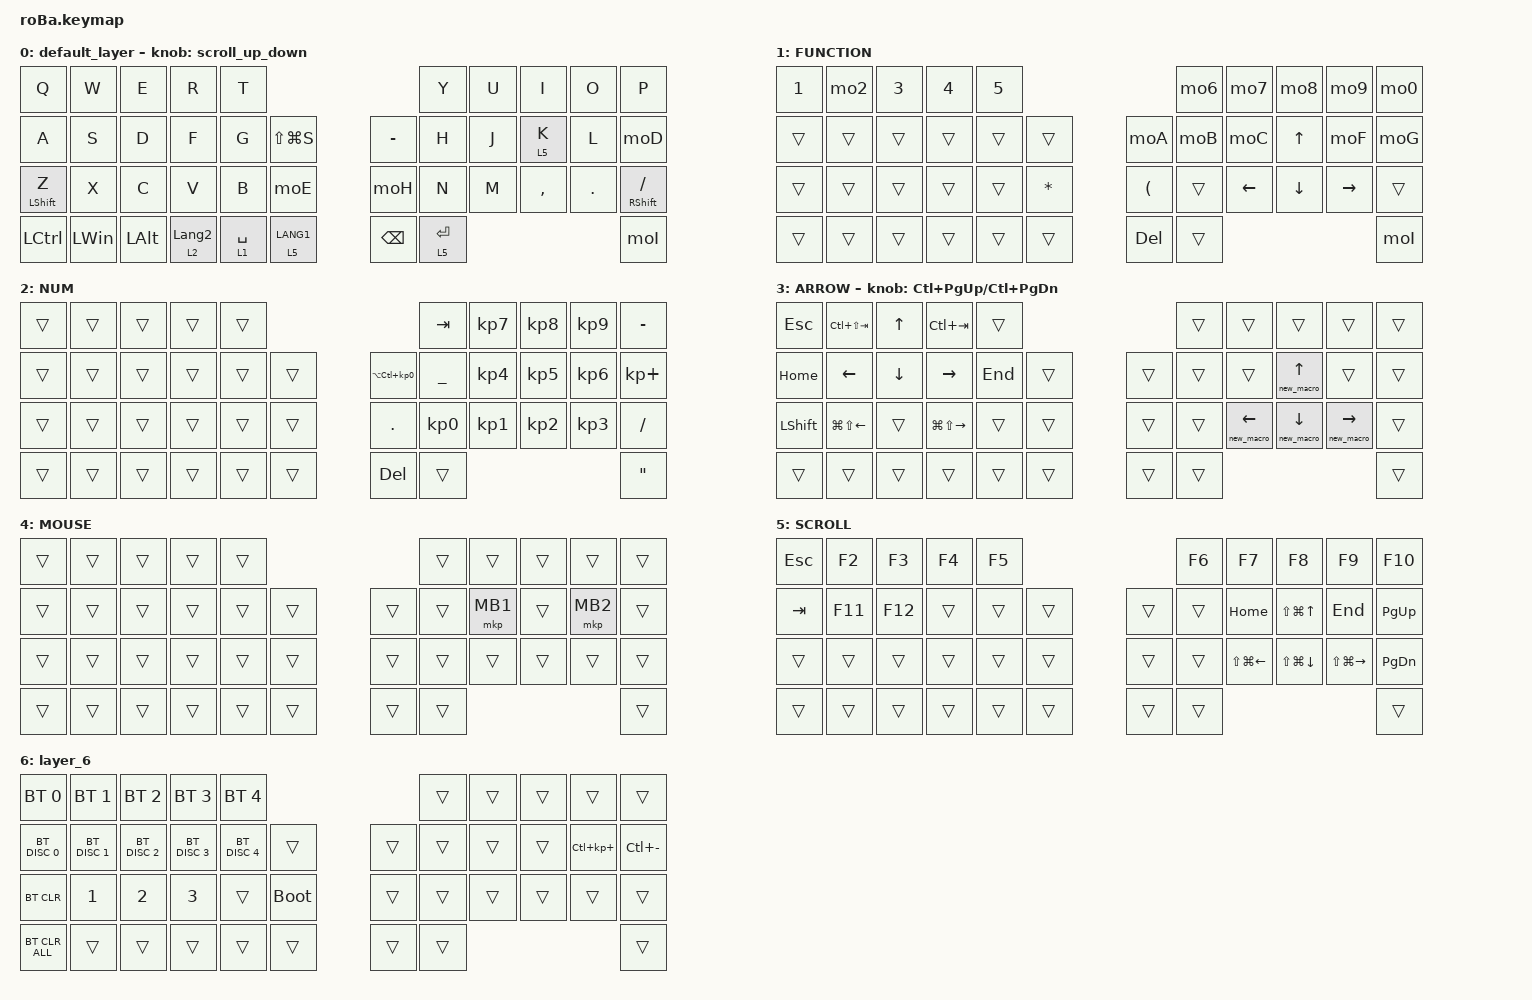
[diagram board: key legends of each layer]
#include <behaviors.dtsi>
#include <dt-bindings/zmk/bt.h>
#include <dt-bindings/zmk/keys.h>
#include <dt-bindings/zmk/pointing.h>

#define ZMK_POINTING_DEFAULT_SCRL_VAL 100
#define JP_DQUOTE       AT                // "
#define JP_AMPERSAND    CARET             // &
#define JP_QUOTE        AMPERSAND         // '
#define JP_EQUAL        UNDER             // =
#define JP_CARET        EQUAL             // ^
#define JP_YEN          0x89              // ¥
#define JP_PLUS         COLON             // +
#define JP_TILDE        PLUS              // ~
#define JP_PIPE         LS(0x89)          // |
#define JP_AT           LEFT_BRACKET      // @
#define JP_COLON        SINGLE_QUOTE      // :
#define JP_ASTERISK     DOUBLE_QUOTES     // *
#define JP_BACKQUOTE    LEFT_BRACE        // `
#define JP_UNDERSCORE   LS(0x87)          // _
#define JP_LBRACKET     RIGHT_BRACKET     // [
#define JP_RBRACKET     BACKSLASH         // ]
#define JP_LPAREN       ASTERISK          // (
#define JP_RPAREN       LEFT_PARENTHESIS  // )
#define JP_LBRACE       RIGHT_BRACE       // {
#define JP_RBRACE       PIPE              // }
#define JP_KANA         LANGUAGE_1        // かな
#define JP_EISU         LANGUAGE_2        // 英数
#define JP_HANZEN       GRAVE             // 半角/全角
#define JP_BSLH  INT1         // (backslash)

&mt {
    flavor = "balanced";
    quick-tap-ms = <0>;
};

&trackball {
    automouse-layer = <4>;
    scroll-layers = <5>;

    // arrows {
    //     layers = <3>;
    //     bindings =
    //         <&kp RIGHT_ARROW>,
    //         <&kp LEFT_ARROW>,
    //         <&kp UP_ARROW>,
    //         <&kp DOWN_ARROW>;
    //     tick = <10>;
    //     wait-ms = <5>;
    //     tap-ms = <5>;
    // };
};

/ {
    combos {
        compatible = "zmk,combos";

        tab {
            bindings = <&kp TAB>;
            key-positions = <11 12>;
        };

        shift_tab {
            bindings = <&kp LS(TAB)>;
            key-positions = <0 4>;
        };

        double_quotation {
            bindings = <&kp DOUBLE_QUOTES>;
            key-positions = <20 21>;
        };

        eq {
            bindings = <&kp EQUAL>;
            key-positions = <24 25>;
        };

        toLayer6 {
            bindings = <&mo 6>;
            key-positions = <37 38>;
        };

        toLayer3 {
            bindings = <&mo 3>;
            key-positions = <39 38>;
        };

        esc {
            bindings = <&kp ESCAPE>;
            key-positions = <0 1>;
        };

        mb4 {
            bindings = <&kp LA(LEFT)>;
            key-positions = <6 7>;
        };

        mb5 {
            bindings = <&kp LA(RIGHT)>;
            key-positions = <7 8>;
        };
    };

    macros {
        to_layer_0: to_layer_0 {
            compatible = "zmk,behavior-macro-one-param";
            #binding-cells = <1>;
            bindings = <&to 0 &macro_param_1to1 &kp MACRO_PLACEHOLDER>;
            label = "TO_LAYER_0";
        };

        new_macro: new_macro {
            compatible = "zmk,behavior-macro-one-param";
            #binding-cells = <1>;
            bindings =
                <&macro_press>,
                <&kp LEFT_META &macro_param_1to1>,
                <&macro_press>,
                <&kp MACRO_PLACEHOLDER>,
                <&macro_pause_for_release>,
                <&macro_param_1to1>,
                <&macro_release>,
                <&kp MACRO_PLACEHOLDER>,
                <&macro_release>,
                <&kp LEFT_GUI>;

            label = "NEW_MACRO";
        };
    };

    behaviors {
        lt_to_layer_0: lt_to_layer_0 {
            compatible = "zmk,behavior-hold-tap";
            label = "LAYER_TAP_TO_0";
            bindings = <&mo>, <&to_layer_0>;

            #binding-cells = <2>;
            tapping-term-ms = <200>;
        };

        mo2: mo2 {
            compatible = "zmk,behavior-mod-morph";
            #binding-cells = <0>;
            bindings = <&kp NUMBER_2>, <&kp AT>;

            mods = <(MOD_LSFT|MOD_RSFT)>;
        };

        mo6: mo6 {
            compatible = "zmk,behavior-mod-morph";
            #binding-cells = <0>;
            bindings = <&kp NUMBER_6>, <&kp CARET>;

            mods = <(MOD_LSFT|MOD_RSFT)>;
        };

        mo7: mo7 {
            compatible = "zmk,behavior-mod-morph";
            #binding-cells = <0>;
            bindings = <&kp N7>, <&kp AMPS>;

            mods = <(MOD_LSFT|MOD_RSFT)>;
        };

        mo8: mo8 {
            compatible = "zmk,behavior-mod-morph";
            #binding-cells = <0>;
            bindings = <&kp N8>, <&kp ASTRK>;

            mods = <(MOD_LSFT|MOD_RSFT)>;
        };

        mo9: mo9 {
            compatible = "zmk,behavior-mod-morph";
            #binding-cells = <0>;
            bindings = <&kp N9>, <&kp LPAR>;

            mods = <(MOD_LSFT|MOD_RSFT)>;
        };

        mo0: mo0 {
            compatible = "zmk,behavior-mod-morph";
            #binding-cells = <0>;
            bindings = <&kp N0>, <&kp LS(N9)>;

            mods = <(MOD_LSFT|MOD_RSFT)>;
        };

        moA: moA {
            compatible = "zmk,behavior-mod-morph";
            bindings = <&kp MINUS>, <&kp UNDER>;

            #binding-cells = <0>;
            mods = <(MOD_LSFT|MOD_RSFT)>;
        };

        moB: moB {
            compatible = "zmk,behavior-mod-morph";
            bindings = <&kp EQUAL>, <&kp PLUS>;

            #binding-cells = <0>;
            mods = <(MOD_LSFT|MOD_RSFT)>;
        };

        moC: moC {
            compatible = "zmk,behavior-mod-morph";
            bindings = <&kp INT3>, <&kp LS(0x89)>;

            #binding-cells = <0>;
            mods = <(MOD_LSFT|MOD_RSFT)>;
        };

        moD: moD {
            compatible = "zmk,behavior-mod-morph";
            bindings = <&kp LEFT_BRACKET>, <&kp LBRC>;

            #binding-cells = <0>;
            mods = <(MOD_LSFT|MOD_RSFT)>;
        };

        moE: moE {
            compatible = "zmk,behavior-mod-morph";
            bindings = <&kp RIGHT_BRACKET>, <&kp RBRC>;

            #binding-cells = <0>;
            mods = <(MOD_LSFT|MOD_RSFT)>;
        };

        moF: moF {
            compatible = "zmk,behavior-mod-morph";
            bindings = <&kp SEMI>, <&kp KP_PLUS>;

            #binding-cells = <0>;
            mods = <(MOD_LSFT|MOD_RSFT)>;
        };

        moG: moG {
            compatible = "zmk,behavior-mod-morph";
            bindings = <&kp APOS>, <&kp DQT>;

            #binding-cells = <0>;
            mods = <(MOD_LSFT|MOD_RSFT)>;
        };

        moH: moH {
            compatible = "zmk,behavior-mod-morph";
            bindings = <&kp BACKSLASH>, <&kp TILDE2>;

            #binding-cells = <0>;
            mods = <(MOD_LSFT|MOD_RSFT)>;
        };

        moI: moI {
            compatible = "zmk,behavior-mod-morph";
            #binding-cells = <0>;
            bindings = <&mt RCTRL JP_BSLH>, <&kp JP_UNDERSCORE>;

            mods = <(MOD_LSFT|MOD_RSFT)>;
        };

        // 新しいスクロール動作の追加

        scroll_up_down: behavior_sensor_rotate_mouse_wheel_up_down {
            compatible = "zmk,behavior-sensor-rotate";
            #sensor-binding-cells = <0>;
            bindings = <&msc SCRL_DOWN>, <&msc SCRL_UP>;

            // 追加: スクロールのタップ時間を設定 (20ms)

            tap-ms = <20>;
        };
    };

    keymap {
        compatible = "zmk,keymap";

        default_layer {
            bindings = <
&kp Q             &kp W         &kp E         &kp R                        &kp T                                                   &kp Y        &kp U  &kp I      &kp O    &kp P
&kp A             &kp S         &kp D         &kp F                        &kp G        &kp LS(LG(S))               &kp MINUS      &kp H        &kp J  &lt 5 K    &kp L    &moD
&mt LEFT_SHIFT Z  &kp X         &kp C         &kp V                        &kp B        &moE                        &moH           &kp N        &kp M  &kp COMMA  &kp DOT  &mt RSHFT SLASH
&kp LCTRL         &kp LEFT_WIN  &kp LEFT_ALT  &lt_to_layer_0 2 LANGUAGE_2  &lt 1 SPACE  &lt_to_layer_0 5 LANG1      &kp BACKSPACE  &lt 5 ENTER                             &moI
            >;

            sensor-bindings = <&scroll_up_down>;
        };

        FUNCTION {
            bindings = <
&kp N1  &mo2    &kp N3  &kp N4  &kp N5                                       &mo6    &mo7      &mo8          &mo9       &mo0
&trans  &trans  &trans  &trans  &trans  &trans         &moA                  &moB    &moC      &kp UP_ARROW  &moF       &moG
&trans  &trans  &trans  &trans  &trans  &kp ASTRK      &kp LEFT_PARENTHESIS  &trans  &kp LEFT  &kp DOWN      &kp RIGHT  &trans
&trans  &trans  &trans  &trans  &trans  &trans         &kp DELETE            &trans                                     &moI
            >;
        };

        NUM {
            bindings = <
&trans  &trans  &trans  &trans  &trans                                       &kp TAB          &kp KP_N7  &kp KP_N8  &kp KP_N9  &kp MINUS
&trans  &trans  &trans  &trans  &trans  &trans      &kp LA(LC(KP_NUMBER_0))  &kp UNDER        &kp KP_N4  &kp KP_N5  &kp KP_N6  &kp KP_PLUS
&trans  &trans  &trans  &trans  &trans  &trans      &kp DOT                  &kp KP_NUMBER_0  &kp KP_N1  &kp KP_N2  &kp KP_N3  &kp SLASH
&trans  &trans  &trans  &trans  &trans  &trans      &kp DELETE               &trans                                            &kp DOUBLE_QUOTES
            >;
        };

        ARROW {
            bindings = <
&kp ESCAPE      &kp LC(LS(TAB))         &kp UP_ARROW    &kp LC(TAB)              &trans                       &trans  &trans           &trans           &trans            &trans
&kp HOME        &kp LEFT_ARROW          &kp DOWN_ARROW  &kp RIGHT_ARROW          &kp END  &trans      &trans  &trans  &trans           &new_macro UP    &trans            &trans
&kp LEFT_SHIFT  &kp LG(LS(LEFT_ARROW))  &trans          &kp LG(LS(RIGHT_ARROW))  &trans   &trans      &trans  &trans  &new_macro LEFT  &new_macro DOWN  &new_macro RIGHT  &trans
&trans          &trans                  &trans          &trans                   &trans   &trans      &trans  &trans                                                      &trans
            >;

            sensor-bindings = <&inc_dec_kp LC(PAGE_UP) LC(PAGE_DOWN)>;
        };

        MOUSE {
            bindings = <
&trans  &trans  &trans  &trans  &trans                      &trans  &trans    &trans  &trans    &trans
&trans  &trans  &trans  &trans  &trans  &trans      &trans  &trans  &mkp MB1  &trans  &mkp MB2  &trans
&trans  &trans  &trans  &trans  &trans  &trans      &trans  &trans  &trans    &trans  &trans    &trans
&trans  &trans  &trans  &trans  &trans  &trans      &trans  &trans                              &trans
            >;
        };

        SCROLL {
            bindings = <
&kp ESCAPE  &kp F2   &kp F3   &kp F4  &kp F5                      &kp F6  &kp F7            &kp F8                &kp F9             &kp F10
&kp TAB     &kp F11  &kp F12  &trans  &trans  &trans      &trans  &trans  &kp HOME          &kp LS(LG(UP_ARROW))  &kp END            &kp PAGE_UP
&trans      &trans   &trans   &trans  &trans  &trans      &trans  &trans  &kp LS(LG(LEFT))  &kp LS(LG(DOWN))      &kp LS(LG(RIGHT))  &kp PAGE_DOWN
&trans      &trans   &trans   &trans  &trans  &trans      &trans  &trans                                                             &trans
            >;
        };

        layer_6 {
            bindings = <
&bt BT_SEL 0    &bt BT_SEL 1   &bt BT_SEL 2   &bt BT_SEL 3   &bt BT_SEL 4                            &trans  &trans  &trans  &trans           &trans
&bt BT_DISC 0   &bt BT_DISC 1  &bt BT_DISC 2  &bt BT_DISC 3  &bt BT_DISC 4  &trans           &trans  &trans  &trans  &trans  &kp LC(KP_PLUS)  &kp LC(MINUS)
&bt BT_CLR      &kp NUMBER_1   &kp NUMBER_2   &kp NUMBER_3   &trans         &bootloader      &trans  &trans  &trans  &trans  &trans           &trans
&bt BT_CLR_ALL  &trans         &trans         &trans         &trans         &trans           &trans  &trans                                   &trans
            >;
        };
    };
};
